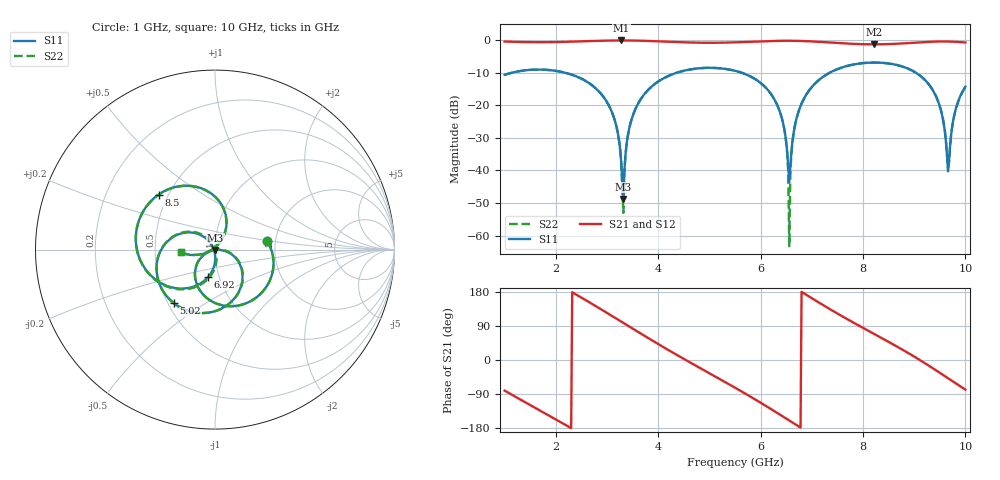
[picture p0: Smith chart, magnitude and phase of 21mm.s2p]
! Touchstone file exported from HFSS 2018.2.0
!  File:  C:/Users/10024/OneDrive - The University of Nottingham Ningbo China/Year 4/Final Year Project/HFSS project/Passive_Resonator_Antenna.aedt
!  Generated:  12:15:40 下午  3月 12, 2022
!  Design:  SMA_Thru
!  Project:  Passive_Resonator_Antenna
!  Setup:  Setup1
!  Solution:  Sweep
! Variables:
!  MW = 1mm
!  ThruL = 21mm
!  g = 0.2mm
!  subH = 0.8mm
!  subX = 20mm
!  subY = 31mm
!  tapW = 1mm
# GHZ S MA R 50.000000
! Modal data exported
! Port[1] = SMA_CONNECTOR1_1:1
! Port[2] = SMA_CONNECTOR2_1:1
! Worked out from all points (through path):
!   451 points, 1 GHz to 10 GHz, reference 50 ohm
!   highest |S21| = -0.08 dB at 3.28 GHz (marker M1); lowest = -1.3 dB at 8.22 GHz (marker M2)
!   group delay of S21, straight-line fit = 221 ps
!   lowest |S11| = -48.7 dB at 3.32 GHz (marker M3), VSWR 1.01, Z = 50.3 - j0.258 ohm
!   |S11| at or under -10 dB: 2.184 GHz to 4.36 GHz (2.176 GHz wide, 66.5 % of centre); 5.631 GHz to 7.347 GHz (1.716 GHz wide, 26.4 % of centre); 9.034 GHz to end of sweep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
!   |S22| runs from -63.2 to -6.9 dB; largest |S21 - S12| = 3.3e-14
!   S11 on the Smith chart (normalised r, x): 1 GHz: 1.80, +0.19; 5.02 GHz: 0.54, -0.37; 6.92 GHz: 0.88, -0.28; 8.5 GHz: 0.44, +0.34; 10 GHz: 0.68, -0.02
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1  0.2936 9.2  0.954 -80.7  0.954 -80.7  0.2936 9.1
! Gamma ! 0.0151858380091344 30.3716836111798 0.0151858380091107 30.3716836112025
! Port Impedance50 0 50 0
1.86  0.3486 -56.3  0.9327 -146.1  0.9327 -146.1  0.3486 -56.3
2.5  0.2568 -105.4  0.96 164.7  0.96 164.7  0.2568 -105.6
3.08  0.08433 -151.0  0.9881 117.8  0.9881 117.8  0.08432 -152.4
3.28  0.01272 -156.5  0.9909 101.2  0.9909 101.2  0.01243 -168.0
3.32  0.003653 -44.6  0.9908 97.9  0.9908 97.9  0.00223 1.2
3.52  0.07529 -11.6  0.9873 81.3  0.9873 81.3  0.07519 -9.3
4  0.2319 -49.3  0.9613 42.1  0.9613 42.1  0.2319 -48.4
5.02  0.3766 -127.4  0.913 -36.5  0.913 -36.5  0.3766 -127.2
5.5  0.3393 -163.6  0.9266 -73.0  0.9266 -73.0  0.3393 -163.9
6.3  0.1112 134.2  0.9762 -137.5  0.9762 -137.5  0.1113 131.1
6.46  0.04441 125.7  0.9802 -151.1  0.9802 -151.1  0.04425 117.2
6.56  0.006574 -162.7  0.9803 -159.6  0.9803 -159.6  0.0006881 69.1
6.68  0.05352 -88.5  0.9778 -169.9  0.9778 -169.9  0.05273 -80.6
6.92  0.1579 -104.2  0.9645 169.8  0.9645 169.8  0.1573 -101.3
7  0.191 -110.4  0.958 163.1  0.958 163.1  0.1904 -108.1
7.6  0.3838 -157.5  0.8962 114.9  0.8962 114.9  0.3833 -156.4
8.22  0.4541 156.4  0.8639 68.6  0.8639 68.6  0.4538 157.0
8.5  0.4392 135.7  0.8715 47.9  0.8715 47.9  0.439 136.2
9.34  0.1825 69.7  0.9483 -19.7  0.9483 -19.7  0.1832 70.1
9.66  0.009698 113.3  0.9547 -48.1  0.9547 -48.1  0.01094 109.8
10  0.1928 -175.3  0.9227 -78.2  0.9227 -78.2  0.1916 -175.7
